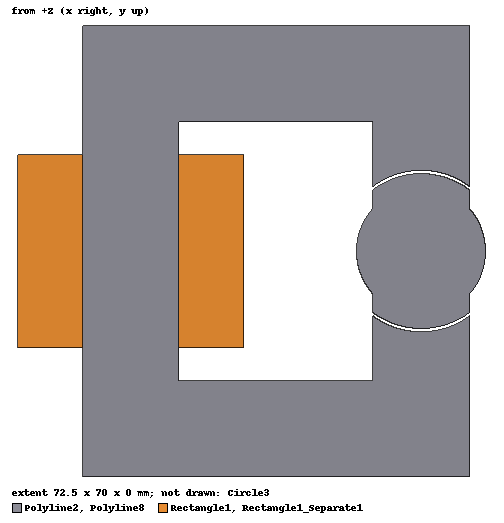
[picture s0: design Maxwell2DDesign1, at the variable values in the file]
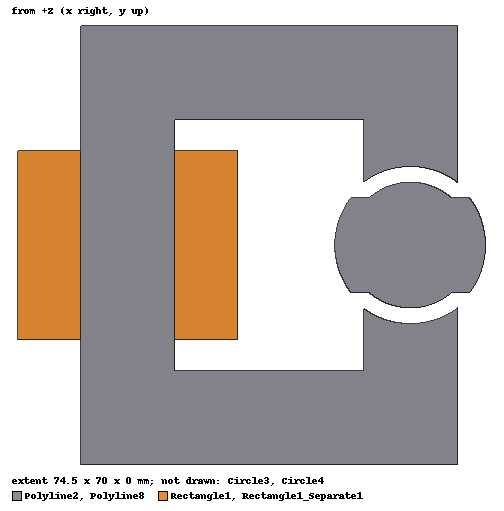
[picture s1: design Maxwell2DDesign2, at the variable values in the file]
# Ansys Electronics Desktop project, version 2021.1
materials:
  vacuum: permittivity=1
  steel_1008: permeability{HUnit=A_per_meter BUnit=tesla curve (0, 0) (159.2, 0.2402) (318.3, 0.8654) (477.5, 1.1106) (636.6, 1.2458) (795.8, 1.331) (1591.5, 1.5) (3183.1, 1.6) (4774.6, 1.683) (6366.2, 1.741) (7957.7, 1.78) (15915.5, 1.905) (31831, 2.025) (47746.5, 2.085) (63662, 2.13) (79577.5, 2.165) (159155, 2.28) (318310, 2.485) (397887, 2.5851)} conductivity=2000000
  steel_1010: permittivity=1 permeability{HUnit=A_per_meter BUnit=tesla curve (0, 0) (238.7, 0.2003) (318.3, 0.3204) (358.1, 0.40045) (437.7, 0.50055) (477.5, 0.5606) (636.6, 0.7908) (795.8, 0.931) (1114.1, 1.1014) (1273.2, 1.2016) (1591.5, 1.302) (2228.2, 1.4028) (3183.1, 1.524) (4774.6, 1.626) (6366.2, 1.698) (7957.7, 1.73) (15915.5, 1.87) (31831, 1.99) (47746.5, 2.04) (63662, 2.07) (79577.5, 2.095) (159155, 2.2) (318310, 2.4)} conductivity=2000000 lande_g_factor=2
  copper: permeability=0.999991 conductivity=58000000
  iron: permeability=4000 conductivity=10300000
  M19_26G: permeability{HUnit=A_per_meter BUnit=tesla curve (0, 0) (22.28, 0.05) (25.46, 0.1) (31.83, 0.15) (47.74, 0.36) (63.66, 0.54) (79.57, 0.65) (159.15, 0.99) (318.3, 1.2) (477.46, 1.28) (636.61, 1.33) (795.77, 1.36) (1591.5, 1.44) (3183, 1.52) (4774.6, 1.58) (6366.1, 1.63) (7957.7, 1.67) (15915, 1.8) (31830, 1.9) (111407, 2) (190984, 2.1) (350138, 2.3) (509292, 2.5)} conductivity=1960000 core_loss_type="Electrical Steel" core_loss_kh=164.2 core_loss_kc=0.712 core_loss_ke=0.82 mass_density=7650

design Maxwell2DDesign1 (Maxwell 2D, Magnetostatic, XY geometry, model units mm)
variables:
  NumberOfTurns = 250
  CurrentValue = -3A
  teta = 0deg
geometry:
  Polyline1 = polyline(z=0mm, xy in mm: (0, 0) (0, 70) (60, 70) (60, 55) (15, 55) (15, 15) (60, 15) (60, 0) (0, 0), closed, covered)
  point Point1 = (45mm, 55mm, 0mm)
  Polyline2 [iron] = polyline(z=0mm, xy in mm: (45, 55) (45, 15) (60, 15) (60, 55) (45, 55), closed, covered)
  Polyline2.unite(Polyline1)
  Circle1 = circle(normal=Z, centre=(52.5mm, 35mm, 0mm), radius=12.5mm)
  Polyline2.subtract(Circle1)
  point Point2 = (45mm, 44.5mm, 0mm)
  point Point3 = (45mm, 44.5mm, 0mm)
  Polyline8 [iron] = polyline(z=0mm, xy in mm: (45, 44.5) (52.6, 47) (60, 44.5) (60, 25.5) (52.5, 23) (45, 25.5) (45, 44.5), closed, covered, Arc from point 0 over 3, Arc from point 3 over 3)
  Circle2 = circle(normal=Z, centre=(52.5mm, 35mm, 0mm), radius=10mm)
  Polyline8.unite(Circle2)
  Rectangle1 [copper] = rectangle(corner=(15mm, 50mm, 0mm), x_size=10mm, y_size=-30mm)
  Rectangle2 = rectangle(corner=(-10mm, 50mm, 0mm), x_size=10mm, y_size=-30mm)
  Rectangle1.unite(Rectangle2)
  Circle3 [vacuum] = circle(normal=Z, centre=(30mm, 35mm, 0mm), radius=68.007353mm)
  Rectangle1_Separate1 [copper] = Rectangle1.separate_bodies()
  coordinate_system RelativeCS1 = origin=(52.5mm, 35mm, 0mm) x=(1mm, 0mm, 0mm) y=(0mm, 1mm, 0mm)
  Polyline8.rotate(axis=Z, angle=teta) in RelativeCS1
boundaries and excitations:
  VectorPotential1: Vector Potential Edges=Circle3.edge(1 of 1) Value=0
  Current1: Current Objects=Rectangle1 Current=NumberOfTurns*CurrentValue IsPositive=true
  Current2: Current Objects=Rectangle1_Separate1 Current=NumberOfTurns*CurrentValue IsPositive=false
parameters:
  Matrix1: Matrix Current1: NumberOfTurns=250 ReturnPath=Current2
  Torque1: Torque Coordinate_System=RelativeCS1 Is_Positive=true Objects=Polyline8
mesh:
  initial mesh: MeshMethod=AnsoftTAU
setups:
  Setup1: Magnetostatic MaximumPasses=10 MinimumPasses=2 MinimumConvergedPasses=1 PercentRefinement=30 PercentError=0.01 NonLinearResidual=1e-07
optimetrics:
  ParametricSetup1: Parametric Sim._Setups=[Setup1]
    sweep teta: LIN 0deg 360deg 1deg
    calculate mag(Matrix1.CplCoef(Current1,Current1)) on Setup1 : LastAdaptive
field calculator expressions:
  Current1_energy = energy | EnterVolume(Rectangle1) | VolumeValue | Integrate
  Current2_energy = energy | EnterVolume(Rectangle1_Separate1) | VolumeValue | Integrate
  Core1 = energy | EnterVolume(Polyline2) | VolumeValue | Integrate
  Core2 = energy | EnterVolume(Polyline8) | VolumeValue | Integrate
  Space = energy | EnterVolume(Circle3) | VolumeValue | Integrate
  Total_energy = Current1_energy | Current2_energy | Core1 | Core2 | Space | + | + | + | +
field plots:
  Mag_B1: B over Polyline2, Rectangle1, Rectangle1_Separate1, Polyline8, Circle3 on Setup1 : LastAdaptive
  B_Vector1: B over Rectangle1_Separate1, Polyline2, Rectangle1, Polyline8, Circle3 on Setup1 : LastAdaptive
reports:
   Plot 1: Matrix1.L(Current1,Current1)/50 vs teta on Setup1 : LastAdaptive
  Torque Plot 2: Torque1.Torque/50 vs teta on Setup1 : LastAdaptive; markers m1 at 106deg
  Calculator Expressions Table 1: Total_energy vs NumberOfTurns on Setup1 : LastAdaptive
   Plot 2: Torque1.Torque/50 vs NumberOfTurns on Setup1 : LastAdaptive [teta=all]
   Plot 3: Torque1.Torque/50 vs teta on Setup1 : LastAdaptive

design Maxwell2DDesign2 (Maxwell 2D, Transient, XY geometry, model units mm)
options: ModelDepth=0.02meter
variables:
  NumberOfTurns = 250
  CurrentValue = -3A
  teta = -45deg
  Imax = 1.5A
  Speed_rpm = 120
  Frequency = Speed_rpm/60*2
  Thet_deg = 10
  Thet = Thet_deg/180*pi
  Frequency_unit = Frequency Hz
  Simulation_NumberofCycles = 2
  StepsPerTelec = 100
  Telec = 1/Frequency
  SimulationTend = Telec*Simulation_NumberofCycles
  SimulationTstep = Telec/StepsPerTelec
  SimulationTend_unit = SimulationTend s
  SimulationTstep_unit = SimulationTstep s
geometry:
  Polyline1 = polyline(z=0mm, xy in mm: (0, 0) (0, 70) (60, 70) (60, 55) (15, 55) (15, 15) (60, 15) (60, 0) (0, 0), closed, covered)
  point Point1 = (45mm, 55mm, 0mm)
  Polyline2 [iron] = polyline(z=0mm, xy in mm: (45, 55) (45, 15) (60, 15) (60, 55) (45, 55), closed, covered)
  Polyline2.unite(Polyline1)
  Circle1 = circle(normal=Z, centre=(52.5mm, 35mm, 0mm), radius=12.5mm)
  Polyline2.subtract(Circle1)
  point Point2 = (45mm, 44.5mm, 0mm)
  point Point3 = (45mm, 44.5mm, 0mm)
  Polyline8 [iron] = polyline(z=0mm, xy in mm: (45, 44.5) (52.6, 47) (60, 44.5) (60, 25.5) (52.5, 23) (45, 25.5) (45, 44.5), closed, covered, Arc from point 0 over 3, Arc from point 3 over 3)
  Circle2 = circle(normal=Z, centre=(52.5mm, 35mm, 0mm), radius=10mm)
  Polyline8.unite(Circle2)
  Rectangle1 [copper] = rectangle(corner=(15mm, 50mm, 0mm), x_size=10mm, y_size=-30mm)
  Rectangle2 = rectangle(corner=(-10mm, 50mm, 0mm), x_size=10mm, y_size=-30mm)
  Rectangle1.unite(Rectangle2)
  Circle3 [vacuum] = circle(normal=Z, centre=(30mm, 35mm, 0mm), radius=68.007353mm)
  Rectangle1_Separate1 [copper] = Rectangle1.separate_bodies()
  coordinate_system RelativeCS1 = origin=(52.5mm, 35mm, 0mm) x=(1mm, 0mm, 0mm) y=(0mm, 1mm, 0mm)
  Polyline8.rotate(axis=Z, angle=90deg) in RelativeCS1
  Circle4 [vacuum] = circle(normal=Z, centre=(9.0786506e-05mm, 9.0786506e-05mm, 0mm), radius=12.4mm) in RelativeCS1
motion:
  MotionSetup1: Band Move_Type=Rotate Coordinate_System=RelativeCS1 Axis=Z Is_Positive=true InitPos=0deg Angular_Velocity=Speed_rpm*1rpm Objects=Circle4
  Moving1: Moving Objects=Polyline8
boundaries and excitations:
  VectorPotential1: Vector Potential Edges=Circle3.edge(1 of 1) Value=0
  Coils_P_1: Coil Objects=Rectangle1_Separate1 Conductor_number=NumberOfTurns Winding=Coil PolarityType=Positive
  Coils_P_2: Coil Objects=Rectangle1 Conductor_number=NumberOfTurns Winding=Coil PolarityType=Negative
  Coil: Winding Group Type=Current IsSolid=false Current=if((Imax*sin(2*pi*Frequency*Time+Thet)+Imax)>Imax,Imax,0) ParallelBranchesNum=1
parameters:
  Torque1: Torque Coordinate_System=RelativeCS1 Is_Positive=true Objects=Polyline8
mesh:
  Stator: LengthBased RefineInside Objects=Polyline2 MaxLength=3mm
  Rotor: LengthBased RefineInside Objects=Polyline8 MaxLength=2mm
  Coils: LengthBased RefineInside Objects=[Rectangle1_Separate1, Rectangle1] MaxLength=3mm
  initial mesh: MeshMethod=AnsoftTAU
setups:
  Setup1: Transient NonlinearSolverResidual=0.0001 StopTime=SimulationTend_unit TimeStep=SimulationTstep_unit InitialTimeStep=0.002s MinTimeStep=0.001s MaxTimeStep=0.003s TimeStepErrTolerance=0.0001
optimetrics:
  ParametricSetup1: Parametric Sim._Setups=[Setup1]
    sweep Thet_deg: LIN 0 360 5
    calculate avg(Moving1.Torque) on Setup1 : Transient at Time all
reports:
  Torque Table 1: Torque1.Torque vs Time on Setup1 : Transient [teta=all]
  Torque Plot 1: Torque1.Torque vs Time on Setup1 : Transient [teta=all]
  Torque Plot 2: Torque1.Torque vs Time on Setup1 : Transient [teta=all Thet_deg=all]
  Winding Plot 1: InputCurrent(Coil) vs Time on Setup1 : Transient [teta=all Imax=all Thet_deg=0]
  Torque Plot 3: Moving1.Torque vs Time on Setup1 : Transient [teta=all Imax=all Thet_deg=all]
  Torque Plot 4: Moving1.Torque, Moving1.Position, InputCurrent(Coil) vs Time on Setup1 : Transient [teta=all Imax=all Thet_deg=0]
